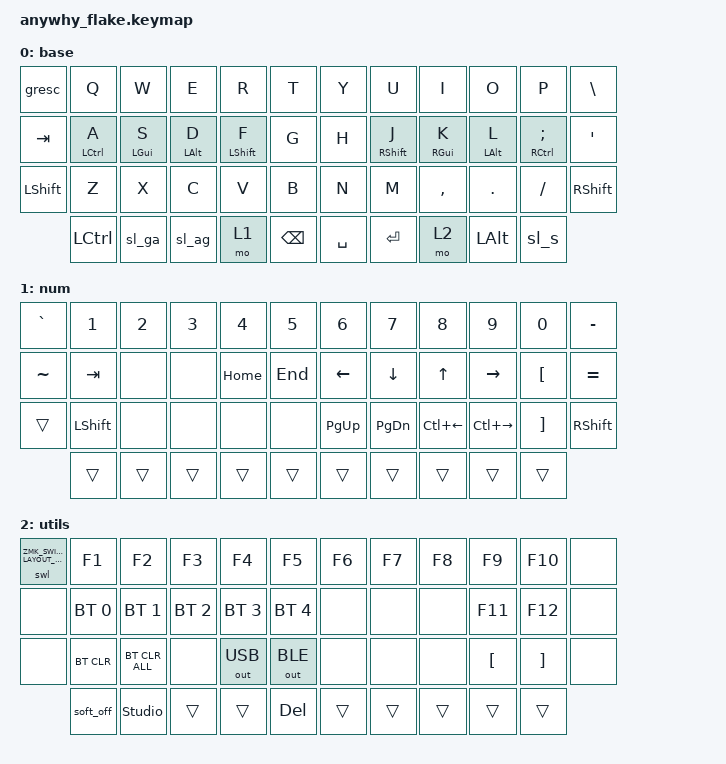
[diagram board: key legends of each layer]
#include <behaviors.dtsi>
#include <dt-bindings/zmk/bt.h>
#include <dt-bindings/zmk/keys.h>
#include <dt-bindings/zmk/outputs.h>
#include <dt-bindings/zmk-switch-layout/switch-layout.h>

&soft_off { hold-time-ms = <2000>; };

#define XXX &none
#define TODO ___
#define ___ &trans
#define NL ZMK_SWITCH_LAYOUT_NEXT

// Home Row Modifiers config
// Inspired by Urob's Timeless HRM config
// https://github.com/urob/zmk-config
#define KEYS_L 46 47 48 49 50 51 0 1 2 3 4 5 12 13 14 15 16 17 24 25 26 27 28 29   // left hand
#define KEYS_R 52 53 54 55 56 57 6 7 8 9 10 11 18 19 20 21 22 23 30 31 32 33 34 35 // right hand
#define THUMBS 36 37 38 39 40 41 42 43 44 45                                       // thumbs

#define TAPPING_TERM_MS 280
#define QUICK_TAP_MS 175
#define PRIOR_IDLE_MS 150

/ {
    behaviors {
        hml: hml {
            compatible = "zmk,behavior-hold-tap";
            #binding-cells = <2>;
            flavor = "balanced";
            tapping-term-ms = <TAPPING_TERM_MS>;
            quick-tap-ms = <QUICK_TAP_MS>;
            require-prior-idle-ms = <PRIOR_IDLE_MS>;
            bindings = <&kp>, <&kp>;
            hold-trigger-key-positions = <KEYS_R THUMBS>;
            hold-trigger-on-release;
            retro-tap;
        };
        hmr: hmr {
            compatible = "zmk,behavior-hold-tap";
            #binding-cells = <2>;
            flavor = "balanced";
            tapping-term-ms = <TAPPING_TERM_MS>;
            quick-tap-ms = <QUICK_TAP_MS>;
            require-prior-idle-ms = <PRIOR_IDLE_MS>;
            bindings = <&kp>, <&kp>;
            hold-trigger-key-positions = <KEYS_L THUMBS>;
            hold-trigger-on-release;
            retro-tap;
        };
        // Switch layout behavior, used for switching between Windows and Mac layouts
        swl: switch_layout {
            compatible = "zmk-switch-layout,behavior-switch-layout-mode";
            #binding-cells = <1>;
            layout-count = <2>;
            default-layout = <0>;
        };
        sl_ga: switch_layout_gui_alt {
            compatible = "zmk-switch-layout,behavior-switch-layout-key";
            #binding-cells = <0>;
            bindings = <&kp LGUI>, <&kp LALT>;
        };
        sl_ag: switch_layout_alt_gui {
            compatible = "zmk-switch-layout,behavior-switch-layout-key";
            #binding-cells = <0>;
            bindings = <&kp LALT>, <&kp LGUI>;
        };
        sl_s: switch_layout_snapshot {
            compatible = "zmk-switch-layout,behavior-switch-layout-key";
            #binding-cells = <0>;
            bindings = <&snap_win>, <&snap_mac_clip>;
        };
    };

    chosen {
        zmk,kscan = &kscan0;
        zmk,physical-layout = &medium_layout;
    };

    macros {
        snap_win: snapshot_win {
            compatible = "zmk,behavior-macro";
            #binding-cells = <0>;
            bindings =
                <&macro_press>,
                <&kp LEFT_WIN &kp LEFT_SHIFT>,
                <&macro_tap>,
                <&kp S>,
                <&macro_release>,
                <&kp LEFT_WIN &kp LEFT_SHIFT>;

            label = "SNAPSHOT_WIN";
        };

        snap_mac_clip: snapshot_mac_clip {
            compatible = "zmk,behavior-macro";
            #binding-cells = <0>;
            bindings =
                <&macro_press>,
                <&kp LEFT_COMMAND &kp LEFT_CONTROL &kp LEFT_SHIFT>,
                <&macro_tap>,
                <&kp NUMBER_4>,
                <&macro_release>,
                <&kp LEFT_COMMAND &kp LEFT_CONTROL &kp LEFT_SHIFT>;

            label = "SNAPSHOT_MAC_CLIP";
        };

        snap_mac_file: snapshot_mac_file {
            compatible = "zmk,behavior-macro";
            #binding-cells = <0>;
            bindings =
                <&macro_press>,
                <&kp LEFT_COMMAND &kp LEFT_SHIFT>,
                <&macro_tap>,
                <&kp NUMBER_4>,
                <&macro_release>,
                <&kp LEFT_COMMAND &kp LEFT_SHIFT>;

            label = "SNAPSHOT_MAC_FILE";
        };
    };

    keymap {
        compatible = "zmk,keymap";

        base {
            bindings = <
&gresc      &kp Q         &kp W        &kp E        &kp R        &kp T               &kp Y      &kp U         &kp I        &kp O        &kp P            &kp BSLH
&kp TAB     &hml LCTRL A  &hml LGUI S  &hml LALT D  &hml LSHFT F &kp G               &kp H      &hmr RSHFT J  &hmr RGUI K  &hmr LALT L  &hmr RCTRL SEMI  &kp APOS
&kp LSHFT   &kp Z         &kp X        &kp C        &kp V        &kp B               &kp N      &kp M         &kp COMMA    &kp DOT      &kp FSLH         &kp RSHFT
            &kp LCTRL     &sl_ga       &sl_ag       &mo 1        &kp BACKSPACE       &kp SPACE  &kp ENTER     &mo 2        &kp LALT     &sl_s
            >;
        };

        num {
            bindings = <
&kp GRAVE   &kp N1      &kp N2       &kp N3    &kp N4    &kp N5            &kp N6     &kp N7       &kp N8         &kp N9        &kp N0     &kp MINUS
&kp TILDE   &kp TAB     &none        &none     &kp HOME  &kp END           &kp LEFT   &kp DOWN     &kp UP         &kp RIGHT     &kp LBKT   &kp EQUAL
&trans      &kp LSHFT   &none        &none     &none     &none             &kp PG_UP  &kp PG_DN    &kp LC(LEFT)   &kp LC(RIGHT) &kp RBKT    &kp RSHFT
            &trans      &trans       &trans    &trans    &trans            &trans     &trans       &trans         &trans        &trans
            >;
        };

        utils {
        bindings = <
&swl NL &kp F1        &kp F2          &kp F3        &kp F4        &kp F5             &kp F6  &kp F7      &kp F8        &kp F9        &kp F10     &none
&none   &bt BT_SEL 0  &bt BT_SEL 1    &bt BT_SEL 2  &bt BT_SEL 3  &bt BT_SEL 4       &none   &none       &none         &kp F11       &kp F12     &none
&none   &bt BT_CLR    &bt BT_CLR_ALL  &none         &out OUT_USB  &out OUT_BLE       &none   &none       &none         &kp LBKT      &kp RBKT    &none
        &soft_off     &studio_unlock  &trans        &trans        &kp DEL            &trans  &trans      &trans        &trans        &trans
        >;
        };
    };
};
